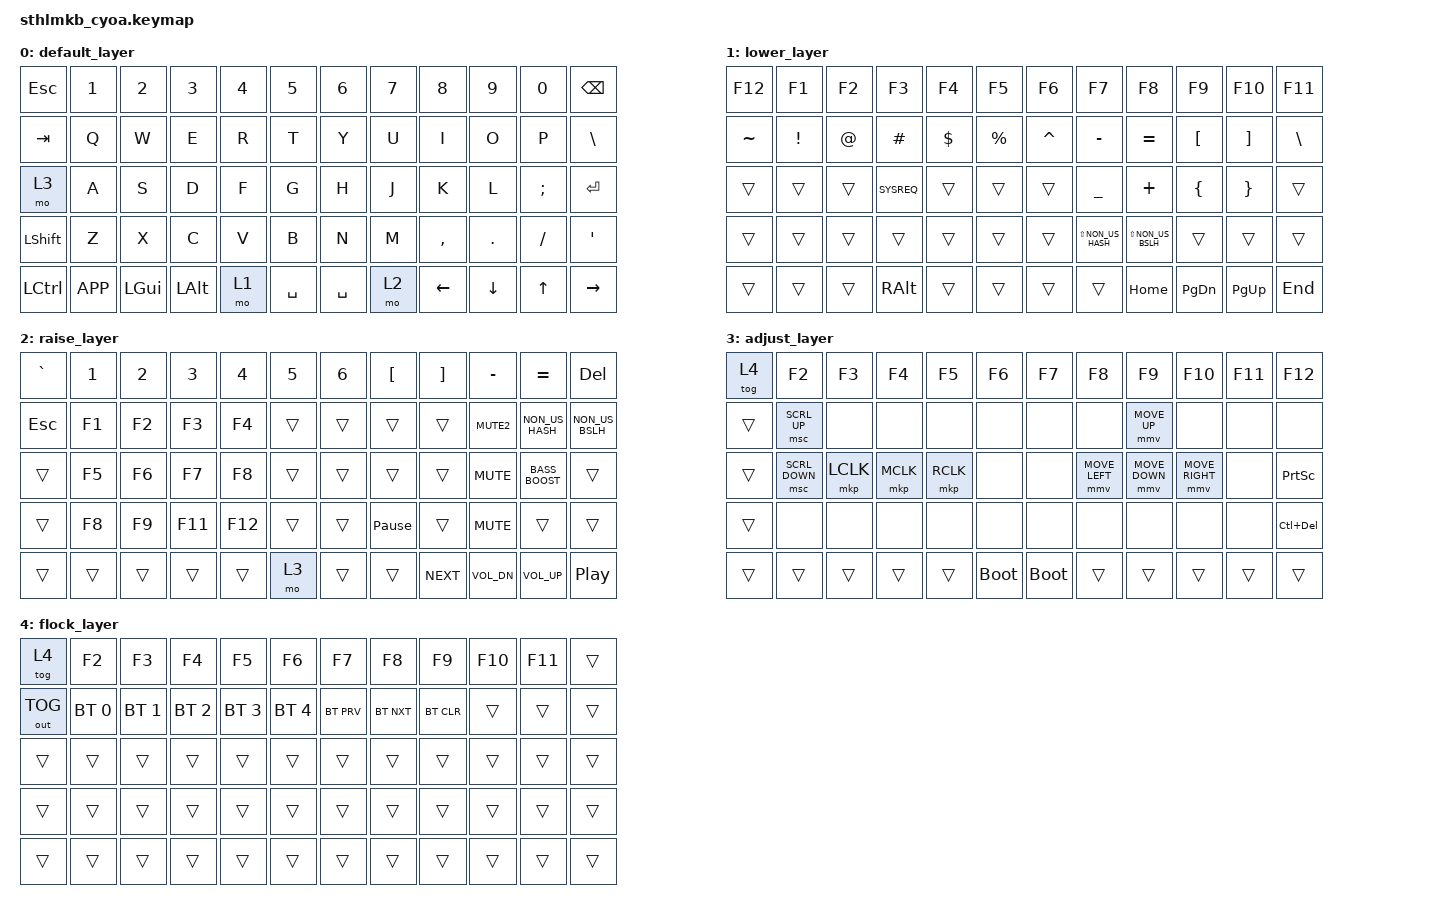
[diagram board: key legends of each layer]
/*
 * Copyright (c) 2021 The ZMK Contributors
 *
 * SPDX-License-Identifier: MIT
 */

#include <behaviors.dtsi>
#include <dt-bindings/zmk/keys.h>
#include <dt-bindings/zmk/bt.h>
#include <dt-bindings/zmk/outputs.h>
#include <dt-bindings/zmk/mouse.h>


/ {
    keymap {
        compatible = "zmk,keymap";
        
        default_layer {
            // ------------------------------------------------------------------------------------------
            // |  ESC  |  1   |  2   |  3   |  4   |  5   |   6   |  7    |  8   |  9   |   0   | BSPC  |
            // |  TAB  |   Q  |  W   |  E   |  R   |  T   |   Y   |  U    |  I   |  O   |   P   |  \    |
            // | ADJUST|  A   |  S   |  D   |  F   |  G   |   H   |  J    |  K   |  L   |   ;   | ENTER |
            // | SHIFT |  Z   |  X   |  C   |  V   |  B   |   N   |  M    |  ,   |  .   |   /   |   '   |
            // | LCTL  | MENU | LGUI | LALT | LOWR | SPACE| SPACE |  RAIS | LEFT | DOWN | UARW  | RARW  |


            bindings = <
                &kp ESC    &kp N1       &kp N2      &kp N3      &kp N4     &kp N5      &kp N6      &kp N7  &kp N8      &kp N9      &kp N0      &kp BSPC
                &kp TAB    &kp Q        &kp W       &kp E       &kp R      &kp T       &kp Y       &kp U   &kp I       &kp O       &kp P       &kp BSLH
                &mo 3      &kp A        &kp S       &kp D       &kp F      &kp G       &kp H       &kp J   &kp K       &kp L       &kp SEMI    &kp RET
                &kp LSHFT  &kp Z        &kp X       &kp C       &kp V      &kp B       &kp N       &kp M   &kp COMMA   &kp DOT     &kp FSLH    &kp SQT
                &kp LCTRL  &kp K_APP    &kp LGUI    &kp LALT    &mo 1      &kp SPACE   &kp SPACE   &mo 2   &kp LEFT    &kp DOWN    &kp UP      &kp RIGHT
            >;
        };

        lower_layer {
            // -------------------------------------------------------------------------------------------
            // |  F12  |  F1  |  F2  |  F3  |  F4  |  F5  |  F6   |   F7  |  F8  |  F9  | F10   |  F11  | 
            // |   ~   |  !   |  @   |  #   |  $   |  %   |   ^   |   -   |  =   |  [   |   ]   |   \   |
            // |       |      |      |SYSRQ |      |      |       |   _   |  +   |  {   |   }   |       |
            // |       |      |      |      |      |      |       | LS(#) |LS(|) |      |       |       |
            // |       |      |      | RALT |      |      |       |       | HOME | PGDN | PGUP  | END   |
            bindings = <
                &kp F12   &kp F1   &kp F2   &kp F3     &kp F4    &kp F5       &kp F6          &kp F7              &kp F8              &kp F9       &kp F10          &kp F11
                &kp TILDE &kp EXCL &kp AT   &kp HASH   &kp DLLR  &kp PRCNT    &kp CARET       &kp MINUS           &kp EQUAL           &kp LBKT     &kp RBKT         &kp BSLH
                &trans    &trans   &trans   &kp SYSREQ &trans    &trans       &trans          &kp UNDER           &kp PLUS            &kp LBRC     &kp RBRC         &trans
                &trans    &trans   &trans   &trans     &trans    &trans       &trans          &kp LS(NON_US_HASH) &kp LS(NON_US_BSLH) &trans       &trans           &trans
                &trans    &trans   &trans   &kp RALT   &trans    &trans       &trans          &trans              &kp HOME            &kp PG_DN    &kp PG_UP        &kp END
            >;
        };

        raise_layer {
            // ------------------------------------------------------------------------------------------
            // |   `   |  1   |  2   |  3   |  4   |  5   |  6    |   [   |  ]   |  -   |   =   |  DEL  |
            // |  ESC  |  F1  |  F2  |  F3  |  F4  |      |       |       |      |kmute2|   #   |   \   |
            // |  DEL  |  F5  |  F6  |  F7  |  F8  |      |       |       |      | kmute| BASS+ |       |
            // |       |  F9  |  F10 |  F11 |  F12 |      |       | PAUSE |      | cmute|       |       |
            // |       |      |      |      |      |  adj |       |       | NEXT | Vol- | Vol+  | PLAY  |
            bindings = <
                &kp GRAVE &kp N1   &kp N2   &kp N3   &kp N4    &kp N5  &kp N6    &kp LBKT        &kp RBKT        &kp MINUS    &kp EQUAL        &kp DEL
                &kp ESC   &kp F1   &kp F2   &kp F3   &kp F4    &trans  &trans    &trans          &trans          &kp K_MUTE2  &kp NON_US_HASH  &kp NON_US_BSLH 
                &trans    &kp F5   &kp F6   &kp F7   &kp F8    &trans  &trans    &trans          &trans          &kp K_MUTE   &kp C_BASS_BOOST &trans
                &trans    &kp F8   &kp F9   &kp F11  &kp F12   &trans  &trans    &kp PAUSE_BREAK &trans          &kp C_MUTE   &trans           &trans
                &trans   &trans   &trans   &trans    &trans    &mo 3   &trans    &trans          &kp C_NEXT      &kp C_VOL_DN &kp C_VOL_UP     &kp C_PLAY_PAUSE
            >;
        };

        adjust_layer {
            // ------------------------------------------------------------------------------------------
            // |tog(4)|  F2  |  F3  |  F4  |  F5  |  F6  |  F7  |  F8  |  F9   |  F10 |  F11 |    F12    |
            // |      |scr up|  NA  |  NA  |  NA  |  NA  |  NA  |  NA  |mouseup|  NA  |  NA  |LALT(PRTSN)|
            // |      |scr dn| lclk | mclk | rclk |  NA  |  NA  |msleft|mousedn|msright|  NA |   PRTSN   |
            // |      |  NA  |  NA  |  NA  |  NA  |  NA  |  NA  |  NA  |  NA   |  NA  |  NA  |LCTRL(DEL) |
            // |      |      |      |      |      |BOOTLD|BOOTLD|      |       |      |      |           |
            bindings = <
                &tog 4   &kp F2         &kp F3         &kp F4       &kp F5     &kp F6       &kp F7       &kp F8         &kp F9         &kp F10        &kp F11         &kp F12
                &trans   &msc SCRL_UP   &none          &none        &none      &none        &none        &none          &mmv MOVE_UP   &none           &none          &none          
                &trans   &msc SCRL_DOWN &mkp LCLK      &mkp MCLK    &mkp RCLK  &none        &none        &mmv MOVE_LEFT &mmv MOVE_DOWN &mmv MOVE_RIGHT &none          &kp PSCRN
                &trans   &none          &none          &none        &none      &none        &none        &none          &none          &none          &none           &kp LC(DEL)
                &trans   &trans         &trans         &trans       &trans     &bootloader  &bootloader  &trans         &trans         &trans         &trans          &trans
            >;
        };

        flock_layer {
            // ----------------------------------------------------------------------------------------------
            // |tog(4) |  F2    |   F3   |   F4   |   F5   |   F6   |  F7  |  F8  |  F9  | F10 | F11 |      |
            // |out tog|BT_SEL 0|BT_SEL 1|BT_SEL 2|BT_SEL 3|BT_SEL 4|BT_PRV|BT_NXT|BT_CLR|     |     |      |
            // |       |        |        |        |        |        |      |      |      |     |     |      |
            // |       |        |        |        |        |        |      |      |      |     |     |      |
            // |       |        |        |        |        |        |      |      |      |     |     |      |
            bindings = <
                &tog 4       &kp F2       &kp F3       &kp F4       &kp F5       &kp F6       &kp F7     &kp F8     &kp F9     &kp F10 &kp F11 &trans
                &out OUT_TOG &bt BT_SEL 0 &bt BT_SEL 1 &bt BT_SEL 2 &bt BT_SEL 3 &bt BT_SEL 4 &bt BT_PRV &bt BT_NXT &bt BT_CLR &trans  &trans  &trans
                &trans       &trans       &trans       &trans       &trans       &trans       &trans     &trans     &trans     &trans  &trans  &trans
                &trans       &trans       &trans       &trans       &trans       &trans       &trans     &trans     &trans     &trans  &trans  &trans
                &trans       &trans       &trans       &trans       &trans       &trans       &trans     &trans     &trans     &trans  &trans  &trans
            >;
        };
    };
};
